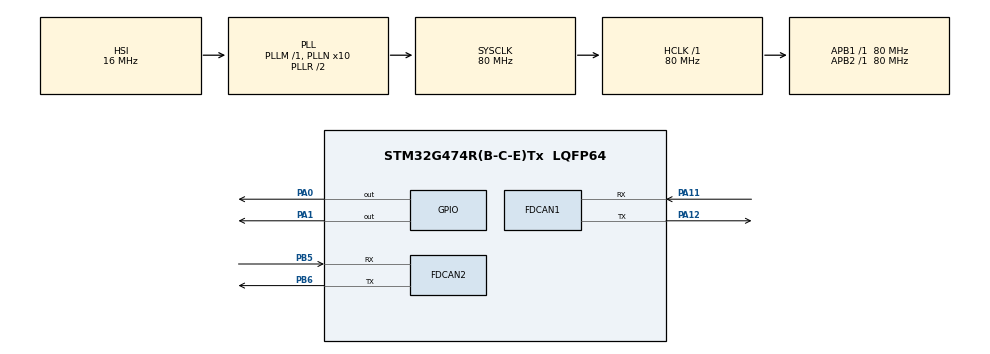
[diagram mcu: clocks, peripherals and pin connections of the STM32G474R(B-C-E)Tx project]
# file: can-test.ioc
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FDCAN1.AutoRetransmission=ENABLE
FDCAN1.CalculateBaudRateNominal=1000000
FDCAN1.CalculateTimeBitNominal=1000
FDCAN1.CalculateTimeQuantumNominal=12.5
FDCAN1.DataSyncJumpWidth=4
FDCAN1.DataTimeSeg1=5
FDCAN1.DataTimeSeg2=4
FDCAN1.ExtFiltersNbr=0
FDCAN1.FrameFormat=FDCAN_FRAME_FD_BRS
FDCAN1.Mode=FDCAN_MODE_NORMAL
FDCAN1.NominalPrescaler=1
FDCAN1.NominalSyncJumpWidth=16
FDCAN1.NominalTimeSeg1=63
FDCAN1.NominalTimeSeg2=16
FDCAN1.StdFiltersNbr=5
FDCAN1.TransmitPause=ENABLE
FDCAN2.AutoRetransmission=ENABLE
FDCAN2.CalculateBaudRateNominal=1000000
FDCAN2.CalculateTimeBitNominal=1000
FDCAN2.CalculateTimeQuantumNominal=12.5
FDCAN2.DataSyncJumpWidth=4
FDCAN2.DataTimeSeg1=5
FDCAN2.DataTimeSeg2=4
FDCAN2.ExtFiltersNbr=0
FDCAN2.FrameFormat=FDCAN_FRAME_FD_BRS
FDCAN2.NominalPrescaler=1
FDCAN2.NominalSyncJumpWidth=16
FDCAN2.NominalTimeSeg1=63
FDCAN2.NominalTimeSeg2=16
FDCAN2.StdFiltersNbr=5
FDCAN2.TransmitPause=ENABLE
Mcu.Family=STM32G4
Mcu.Name=STM32G474R(B-C-E)Tx
Mcu.Package=LQFP64
NVIC.FDCAN1_IT0_IRQn=true\:0\:0\:false\:false\:true\:true\:true\:true
NVIC.FDCAN2_IT0_IRQn=true\:0\:0\:false\:false\:true\:true\:true\:true
NVIC.PriorityGroup=NVIC_PRIORITYGROUP_4
PA0.Signal=GPIO_Output
PA1.Signal=GPIO_Output
PA11.Mode=FDCAN_Activate
PA11.Signal=FDCAN1_RX
PA12.Mode=FDCAN_Activate
PA12.Signal=FDCAN1_TX
PA13.Mode=Serial_Wire
PA13.Signal=SYS_JTMS-SWDIO
PA14.Mode=Serial_Wire
PA14.Signal=SYS_JTCK-SWCLK
PB5.Mode=FDCAN_Activate
PB5.Signal=FDCAN2_RX
PB6.GPIO_FM6=__NULL
PB6.Mode=FDCAN_Activate
PB6.Signal=FDCAN2_TX
ProjectManager.HeapSize=0x200
ProjectManager.StackSize=0x400
ProjectManager.TargetToolchain=STM32CubeIDE
RCC.ADC12Freq_Value=80000000
RCC.ADC345Freq_Value=80000000
RCC.AHBFreq_Value=80000000
RCC.APB1Freq_Value=80000000
RCC.APB1TimFreq_Value=80000000
RCC.APB2Freq_Value=80000000
RCC.APB2TimFreq_Value=80000000
RCC.CortexFreq_Value=80000000
RCC.EXTERNAL_CLOCK_VALUE=12288000
RCC.HCLKFreq_Value=80000000
RCC.HSE_VALUE=8000000
RCC.HSI48_VALUE=48000000
RCC.HSI_VALUE=16000000
RCC.LSE_VALUE=32768
RCC.PLLN=10
RCC.SYSCLKFreq_VALUE=80000000
RCC.SYSCLKSource=RCC_SYSCLKSOURCE_PLLCLK
RCC.USBFreq_Value=80000000
RCC.VCOOutputFreq_Value=160000000
VP_SYS_VS_DBSignals.Mode=DisableDeadBatterySignals
board=custom

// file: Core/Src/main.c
/* USER CODE BEGIN Header */
/**
  ******************************************************************************
  * @file           : main.c
  * @brief          : Main program body
  ******************************************************************************
  * @attention
  *
  * Copyright (c) 2024 STMicroelectronics.
  * All rights reserved.
  *
  * This software is licensed under terms that can be found in the LICENSE file
  * in the root directory of this software component.
  * If no LICENSE file comes with this software, it is provided AS-IS.
  *
  ******************************************************************************
  */
/* USER CODE END Header */
#include "main.h"

FDCAN_HandleTypeDef hfdcan1;
FDCAN_HandleTypeDef hfdcan2;

/* USER CODE BEGIN PV */
FDCAN_FilterTypeDef sFilterConfig;
FDCAN_TxHeaderTypeDef TxHeader;
FDCAN_RxHeaderTypeDef RxHeader;
uint8_t TxData[] = {0x10, 0x32, 0x54, 0x76, 0x98, 0x00, 0x11, 0x22, 0x33, 0x44, 0x55, 0x66, 0x77, 0x88, 0x99, 0x00};
uint8_t RxData[16];
volatile uint32_t Instance = 0;
/* USER CODE END PV */

void SystemClock_Config(void);
static void MX_GPIO_Init(void);
static void MX_FDCAN1_Init(void);
static void MX_FDCAN2_Init(void);

int main(void)
{

  /* MCU Configuration--------------------------------------------------------*/

  /* Reset of all peripherals, Initializes the Flash interface and the Systick. */
  HAL_Init();

  /* Configure the system clock */
  SystemClock_Config();

  /* Initialize all configured peripherals */
  MX_GPIO_Init();
  MX_FDCAN1_Init();
  MX_FDCAN2_Init();
  /* USER CODE BEGIN 2 */
  sFilterConfig.IdType = FDCAN_STANDARD_ID;
  sFilterConfig.FilterIndex = 0;
  sFilterConfig.FilterType = FDCAN_FILTER_MASK;
  sFilterConfig.FilterConfig = FDCAN_FILTER_TO_RXFIFO0;
  sFilterConfig.FilterID1 = 0x111;
  sFilterConfig.FilterID2 = 0x7FF;
  if (HAL_FDCAN_ConfigFilter(&hfdcan1, &sFilterConfig) != HAL_OK)
  {
    Error_Handler();
  }
  if (HAL_FDCAN_ConfigFilter(&hfdcan2, &sFilterConfig) != HAL_OK)
  {
    Error_Handler();
  }

  /* Configure global filter on both FDCAN instances:
     Filter all remote frames with STD and EXT ID
     Reject non matching frames with STD ID and EXT ID */
  if (HAL_FDCAN_ConfigGlobalFilter(&hfdcan1, FDCAN_REJECT, FDCAN_REJECT, FDCAN_FILTER_REMOTE, FDCAN_FILTER_REMOTE) != HAL_OK)
  {
    Error_Handler();
  }
  if (HAL_FDCAN_ConfigGlobalFilter(&hfdcan2, FDCAN_REJECT, FDCAN_REJECT, FDCAN_FILTER_REMOTE, FDCAN_FILTER_REMOTE) != HAL_OK)
  {
    Error_Handler();
  }
  /* Activate Rx FIFO 0 new message notification on both FDCAN instances */
  if (HAL_FDCAN_ActivateNotification(&hfdcan1, FDCAN_IT_TX_FIFO_EMPTY , 0) != HAL_OK)
  {
    Error_Handler();
  }

  if (HAL_FDCAN_ActivateNotification(&hfdcan1, FDCAN_IT_RX_FIFO0_NEW_MESSAGE, 0) != HAL_OK)
  {
    Error_Handler();
  }
  if (HAL_FDCAN_ActivateNotification(&hfdcan2, FDCAN_IT_RX_FIFO0_NEW_MESSAGE, 0) != HAL_OK)
  {
    Error_Handler();
  }

  /* Prepare Tx message Header */
  TxHeader.Identifier = 0x111;
  TxHeader.IdType = FDCAN_STANDARD_ID;
  TxHeader.TxFrameType = FDCAN_DATA_FRAME;
  TxHeader.DataLength = FDCAN_DLC_BYTES_16;
  TxHeader.ErrorStateIndicator = FDCAN_ESI_ACTIVE;
  TxHeader.BitRateSwitch = FDCAN_BRS_ON;
  TxHeader.FDFormat = FDCAN_FD_CAN;
  TxHeader.TxEventFifoControl = FDCAN_NO_TX_EVENTS;
  TxHeader.MessageMarker = 0;

  /* Configure and enable Tx Delay Compensation, required for BRS mode.
     TdcOffset default recommended value: DataTimeSeg1 * DataPrescaler
     TdcFilter default recommended value: 0 */
  if (HAL_FDCAN_ConfigTxDelayCompensation(&hfdcan1, 5, 0) != HAL_OK)
  {
    Error_Handler();
  }
  if (HAL_FDCAN_ConfigTxDelayCompensation(&hfdcan2, 5, 0) != HAL_OK)
  {
    Error_Handler();
  }
  if (HAL_FDCAN_EnableTxDelayCompensation(&hfdcan1) != HAL_OK)
  {
    Error_Handler();
  }
  if (HAL_FDCAN_EnableTxDelayCompensation(&hfdcan2) != HAL_OK)
  {
    Error_Handler();
  }

  /* Start the FDCAN module on both FDCAN instances */
  if (HAL_FDCAN_Start(&hfdcan1) != HAL_OK)
  {
    Error_Handler();
  }
  if (HAL_FDCAN_Start(&hfdcan2) != HAL_OK)
  {
    Error_Handler();
  }
  if (HAL_FDCAN_AddMessageToTxFifoQ(&hfdcan1, &TxHeader, TxData) != HAL_OK)
  {
    Error_Handler();
  }
  //HAL_GPIO_WritePin(GPIOA, GPIO_PIN_0, GPIO_PIN_SET);
  HAL_GPIO_WritePin(GPIOA, GPIO_PIN_1, GPIO_PIN_SET);
  /* USER CODE END 2 */

  /* Infinite loop */
  while (1)
  {

  }
}

void SystemClock_Config(void)
{
  RCC_OscInitTypeDef RCC_OscInitStruct = {0};
  RCC_ClkInitTypeDef RCC_ClkInitStruct = {0};

  /** Configure the main internal regulator output voltage
  */
  HAL_PWREx_ControlVoltageScaling(PWR_REGULATOR_VOLTAGE_SCALE1);

  /** Initializes the RCC Oscillators according to the specified parameters
  * in the RCC_OscInitTypeDef structure.
  */
  RCC_OscInitStruct.OscillatorType = RCC_OSCILLATORTYPE_HSI;
  RCC_OscInitStruct.HSIState = RCC_HSI_ON;
  RCC_OscInitStruct.HSICalibrationValue = RCC_HSICALIBRATION_DEFAULT;
  RCC_OscInitStruct.PLL.PLLState = RCC_PLL_ON;
  RCC_OscInitStruct.PLL.PLLSource = RCC_PLLSOURCE_HSI;
  RCC_OscInitStruct.PLL.PLLM = RCC_PLLM_DIV1;
  RCC_OscInitStruct.PLL.PLLN = 10;
  RCC_OscInitStruct.PLL.PLLP = RCC_PLLP_DIV2;
  RCC_OscInitStruct.PLL.PLLQ = RCC_PLLQ_DIV2;
  RCC_OscInitStruct.PLL.PLLR = RCC_PLLR_DIV2;
  if (HAL_RCC_OscConfig(&RCC_OscInitStruct) != HAL_OK)
  {
    Error_Handler();
  }

  /** Initializes the CPU, AHB and APB buses clocks
  */
  RCC_ClkInitStruct.ClockType = RCC_CLOCKTYPE_HCLK|RCC_CLOCKTYPE_SYSCLK
                              |RCC_CLOCKTYPE_PCLK1|RCC_CLOCKTYPE_PCLK2;
  RCC_ClkInitStruct.SYSCLKSource = RCC_SYSCLKSOURCE_PLLCLK;
  RCC_ClkInitStruct.AHBCLKDivider = RCC_SYSCLK_DIV1;
  RCC_ClkInitStruct.APB1CLKDivider = RCC_HCLK_DIV1;
  RCC_ClkInitStruct.APB2CLKDivider = RCC_HCLK_DIV1;

  if (HAL_RCC_ClockConfig(&RCC_ClkInitStruct, FLASH_LATENCY_2) != HAL_OK)
  {
    Error_Handler();
  }
}

static void MX_FDCAN1_Init(void)
{

  hfdcan1.Instance = FDCAN1;
  hfdcan1.Init.ClockDivider = FDCAN_CLOCK_DIV1;
  hfdcan1.Init.FrameFormat = FDCAN_FRAME_FD_BRS;
  hfdcan1.Init.Mode = FDCAN_MODE_NORMAL;
  hfdcan1.Init.AutoRetransmission = ENABLE;
  hfdcan1.Init.TransmitPause = ENABLE;
  hfdcan1.Init.ProtocolException = DISABLE;
  hfdcan1.Init.NominalPrescaler = 1;
  hfdcan1.Init.NominalSyncJumpWidth = 16;
  hfdcan1.Init.NominalTimeSeg1 = 63;
  hfdcan1.Init.NominalTimeSeg2 = 16;
  hfdcan1.Init.DataPrescaler = 1;
  hfdcan1.Init.DataSyncJumpWidth = 4;
  hfdcan1.Init.DataTimeSeg1 = 5;
  hfdcan1.Init.DataTimeSeg2 = 4;
  hfdcan1.Init.StdFiltersNbr = 5;
  hfdcan1.Init.ExtFiltersNbr = 0;
  hfdcan1.Init.TxFifoQueueMode = FDCAN_TX_FIFO_OPERATION;
  if (HAL_FDCAN_Init(&hfdcan1) != HAL_OK)
  {
    Error_Handler();
  }

}

static void MX_FDCAN2_Init(void)
{

  hfdcan2.Instance = FDCAN2;
  hfdcan2.Init.ClockDivider = FDCAN_CLOCK_DIV1;
  hfdcan2.Init.FrameFormat = FDCAN_FRAME_FD_BRS;
  hfdcan2.Init.Mode = FDCAN_MODE_NORMAL;
  hfdcan2.Init.AutoRetransmission = ENABLE;
  hfdcan2.Init.TransmitPause = ENABLE;
  hfdcan2.Init.ProtocolException = DISABLE;
  hfdcan2.Init.NominalPrescaler = 1;
  hfdcan2.Init.NominalSyncJumpWidth = 16;
  hfdcan2.Init.NominalTimeSeg1 = 63;
  hfdcan2.Init.NominalTimeSeg2 = 16;
  hfdcan2.Init.DataPrescaler = 1;
  hfdcan2.Init.DataSyncJumpWidth = 4;
  hfdcan2.Init.DataTimeSeg1 = 5;
  hfdcan2.Init.DataTimeSeg2 = 4;
  hfdcan2.Init.StdFiltersNbr = 5;
  hfdcan2.Init.ExtFiltersNbr = 0;
  hfdcan2.Init.TxFifoQueueMode = FDCAN_TX_FIFO_OPERATION;
  if (HAL_FDCAN_Init(&hfdcan2) != HAL_OK)
  {
    Error_Handler();
  }

}

static void MX_GPIO_Init(void)
{
  GPIO_InitTypeDef GPIO_InitStruct = {0};

  /* GPIO Ports Clock Enable */
  __HAL_RCC_GPIOA_CLK_ENABLE();
  __HAL_RCC_GPIOB_CLK_ENABLE();

  /*Configure GPIO pin Output Level */
  HAL_GPIO_WritePin(GPIOA, GPIO_PIN_0|GPIO_PIN_1, GPIO_PIN_RESET);

  /*Configure GPIO pins : PA0 PA1 */
  GPIO_InitStruct.Pin = GPIO_PIN_0|GPIO_PIN_1;
  GPIO_InitStruct.Mode = GPIO_MODE_OUTPUT_PP;
  GPIO_InitStruct.Pull = GPIO_NOPULL;
  GPIO_InitStruct.Speed = GPIO_SPEED_FREQ_LOW;
  HAL_GPIO_Init(GPIOA, &GPIO_InitStruct);

}

/* USER CODE BEGIN 4 */
void HAL_FDCAN_TxFifoEmptyCallback(FDCAN_HandleTypeDef *hfdcan)
{
	//HAL_GPIO_WritePin(GPIOA, GPIO_PIN_0, GPIO_PIN_RESET);
    if (hfdcan == &hfdcan1)
    {
        /* TODO */
        HAL_FDCAN_ActivateNotification(&hfdcan1, FDCAN_IT_TX_FIFO_EMPTY , 0);
    }
}
void HAL_FDCAN_RxFifo0Callback(FDCAN_HandleTypeDef *hfdcan, uint32_t RxFifo0ITs)
{

  if((RxFifo0ITs & FDCAN_IT_RX_FIFO0_NEW_MESSAGE) != 0)
  {
    /* Retrieve Rx messages from RX FIFO0 */
    if (HAL_FDCAN_GetRxMessage(hfdcan, FDCAN_RX_FIFO0, &RxHeader, RxData) != HAL_OK)
    {
      Error_Handler();
    }
    if (RxData[0]==0x10)
    {
    	HAL_GPIO_WritePin(GPIOA, GPIO_PIN_0, GPIO_PIN_SET);
    }

  }
}

/* USER CODE END 4 */

void Error_Handler(void)
{
  /* USER CODE BEGIN Error_Handler_Debug */
  /* User can add his own implementation to report the HAL error return state */
  __disable_irq();
  while (1)
  {
	  HAL_GPIO_WritePin(GPIOA, GPIO_PIN_0, GPIO_PIN_RESET);
  }
  /* USER CODE END Error_Handler_Debug */
}
